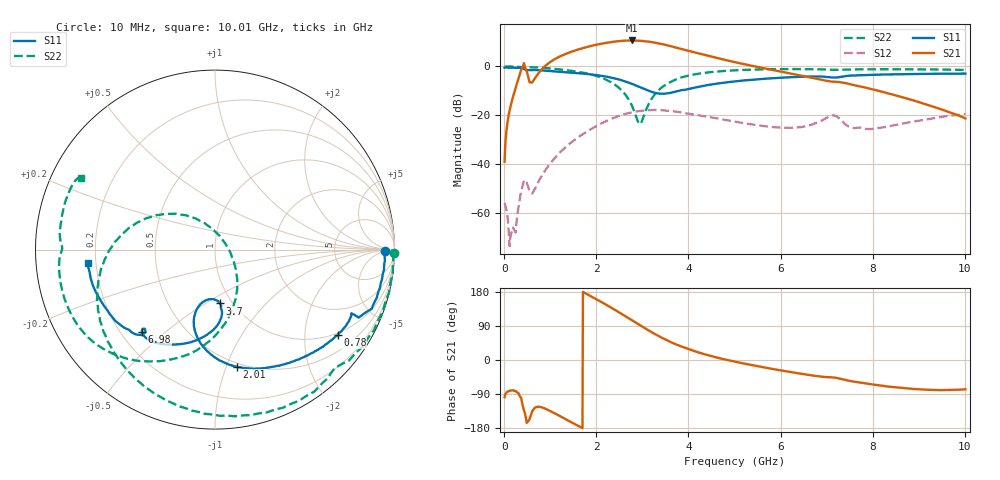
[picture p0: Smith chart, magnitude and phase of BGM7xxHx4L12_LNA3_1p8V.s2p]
! (c) 2014 Infineon Technologies AG
! BGM7xxHx4L12 - Silicon Germanium Quad-Band LTE LNA bank
! 20 May 2014
! Special Application Board
! C1 = L1 = 0 Ohm
! C2 = 100 nF
! Vcc = 1.8V
! RF input and output lines de-embedded
! Port 1 reference plane: LNA input AI (pin 1)
! Port 2 reference plane: LNA output AO (pin 4)
! Network Data:
! Measured BGM7xxHx4L12 device level s-parameters
# GHz S MA R 50
!Freq  MagS11  AngS11  MagS21  AngS21  MagS12  AngS12  MagS22  AngS22
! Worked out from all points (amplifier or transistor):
!   1001 points, 10 MHz to 10.01 GHz, reference 50 ohm
!   highest |S21| = 10.6 dB at 2.77 GHz (marker M1)
!   |S21| within 3 dB of that: 1.732 GHz to 3.748 GHz (2.016 GHz wide, 73.6 % of centre)
!   unconditionally stable (mu >= 1): start of sweep to 69.78 MHz; 70.24 MHz to end of sweep
!   at 1.67 GHz: K = 1.74, MAG = 12.8 dB, |S12| = -28.2 dB
!   at 5.01 GHz: K = 1.45, MAG = 8.2 dB, |S12| = -22.6 dB
!   at 10.01 GHz: K = 6.96, MAG = -12.4 dB, |S12| = -19.4 dB
!   lowest NFmin = 0.70 dB at 2.5 GHz
!   S11 on the Smith chart (normalised r, x): 10 MHz: 36, -6; 780 MHz: 0.94, -2.91; 2.01 GHz: 0.47, -1.09; 3.7 GHz: 0.88, -0.58; 6.98 GHz: 0.29, -0.42; 10.01 GHz: 0.17, -0.05
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0.01  0.9474 -0.5  0.01114 -98.0  0.001612 -34.0  0.9974 -1.0
0.16  0.9448 -8.4  0.1853 -80.5  0.0004002 -148.8  0.9936 -17.2
0.31  0.9406 -16.6  0.554 -87.2  0.001261 -156.8  0.9852 -33.3
0.38  0.9241 -21.4  0.8769 -107.1  0.003022 176.6  0.9624 -40.5
0.46  0.8617 -25.1  0.9273 -145.5  0.004115 141.0  0.944 -46.8
0.53  0.8418 -25.6  0.5782 -160.3  0.00324 121.9  0.9583 -52.9
0.63  0.8446 -28.8  0.5051 -131.6  0.0027 148.2  0.9594 -62.9
0.78  0.8319 -34.8  0.8 -123.8  0.005024 169.9  0.9436 -76.9
1.22  0.7754 -50.8  1.621 -148.6  0.01771 163.9  0.8685 -113.3
1.68  0.7167 -67.0  2.335 -178.4  0.03937 146.8  0.7556 -147.4
2.01  0.664 -79.4  2.792 159.9  0.06093 132.1  0.6341 -171.7
2.38  0.5749 -93.4  3.211 134.1  0.08846 113.2  0.4381 158.2
2.77  0.4413 -105.5  3.405 104.9  0.115 90.5  0.1601 111.8
2.96  0.3714 -107.3  3.339 90.7  0.1227 79.3  0.0672 21.7
3.35  0.2789 -97.0  2.971 63.3  0.1274 57.9  0.3245 -71.1
3.7  0.301 -84.7  2.48 42.6  0.1196 42.5  0.5269 -95.5
4.3  0.3957 -85.8  1.771 16.9  0.09678 26.4  0.7279 -121.2
5.01  0.4935 -98.1  1.223 -4.6  0.07406 19.6  0.8338 -138.8
6.68  0.6238 -126.6  0.5871 -40.7  0.06447 48.0  0.8772 -170.7
6.98  0.6129 -131.6  0.5108 -45.0  0.08672 46.7  0.8661 -177.2
8.35  0.6858 -147.4  0.2786 -70.3  0.0595 52.3  0.8752 160.4
10.01  0.7128 -173.9  0.08592 -77.2  0.1069 56.2  0.8473 151.8
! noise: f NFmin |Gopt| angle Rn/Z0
2.3  0.7508  0.4753  80.48  0.1622
2.4  0.7569  0.4181  77.03  0.1454
2.5  0.7003  0.5372  69.39  0.1714
2.6  0.7088  0.4348  65.3  0.1605
2.68  0.7383  0.4691  68.71  0.1718
